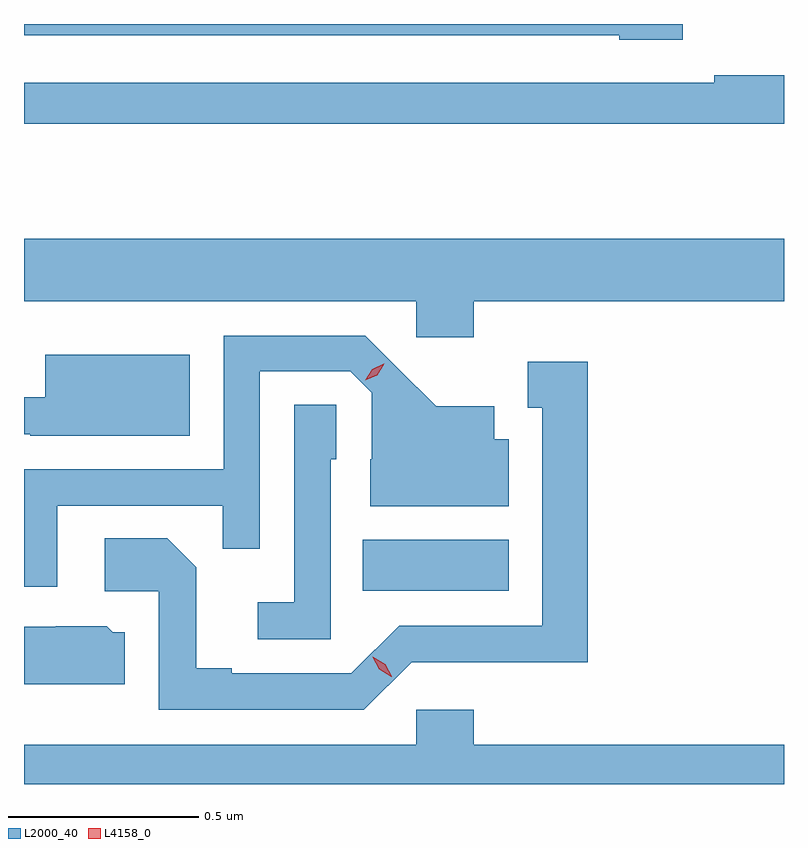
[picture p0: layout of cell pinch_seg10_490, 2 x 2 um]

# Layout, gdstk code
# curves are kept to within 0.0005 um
import gdstk
lib = gdstk.Library(unit=1e-6, precision=1e-09)
def R(c, l, rs):  # rectangles x0, y0, x1, y1
    for r in rs: c.add(gdstk.rectangle(r[:2], r[2:], *l))
def P(c, l, *ps):  # polygons
    for p in ps: c.add(gdstk.Polygon(p, *l))
L2000_40 = (2000, 40)
L4158_0 = (4158, 0)

pinch_seg10_490 = lib.new_cell('pinch_seg10_490')
R(pinch_seg10_490, L2000_40, [(336.058,1299.554,336.442,1299.688)])
P(pinch_seg10_490, L2000_40, [(336.899,1301.045),(335.166,1301.045),(335.166,1301.016),(336.732,1301.016),(336.732,1301.003),(336.899,1301.003)],
  [(337.166,1300.91),(336.982,1300.91),(336.982,1300.89),(335.166,1300.89),(335.166,1300.782),(337.166,1300.782)],
  [(336.35,1300.316),(337.166,1300.316),(337.166,1300.48),(335.166,1300.48),(335.166,1300.316),(336.198,1300.316),(336.198,1300.221),(336.35,1300.221)],
  [(335.253,1299.777),(335.689,1299.777),(335.689,1299.664),(335.787,1299.664),(335.787,1300.131),(336.024,1300.131),(336.081,1300.074),(336.081,1299.9),(336.077,1299.9),(336.077,1299.776),(336.442,1299.776),(336.442,1299.952),(336.403,1299.952),(336.403,1300.039),(336.251,1300.039),(336.064,1300.224),(335.691,1300.224),(335.691,1299.873),(335.166,1299.873),(335.166,1299.564),(335.253,1299.564)],
  [(335.602,1300.174),(335.222,1300.174),(335.222,1300.063),(335.166,1300.063),(335.166,1299.966),(335.182,1299.966),(335.182,1299.962),(335.602,1299.962)],
  [(336.186,1299.366),(336.408,1299.366),(336.408,1299.365),(336.649,1299.365),(336.649,1300.156),(336.491,1300.156),(336.491,1300.035),(336.53,1300.035),(336.53,1299.462),(336.153,1299.462),(336.027,1299.336),(335.713,1299.336),(335.713,1299.349),(335.619,1299.349),(335.619,1299.616),(335.543,1299.692),(335.379,1299.692),(335.379,1299.552),(335.52,1299.552),(335.52,1299.24),(336.06,1299.24)],
  [(335.973,1299.9),(335.988,1299.9),(335.988,1300.043),(335.877,1300.043),(335.877,1299.523),(335.781,1299.523),(335.781,1299.426),(335.973,1299.426)],
  [(335.431,1299.444),(335.4,1299.444),(335.384,1299.46),(335.25,1299.46),(335.25,1299.459),(335.166,1299.459),(335.166,1299.308),(335.431,1299.308)],
  [(337.166,1299.148),(336.35,1299.148),(336.35,1299.241),(336.198,1299.241),(336.198,1299.148),(335.166,1299.148),(335.166,1299.045),(337.166,1299.045)])
P(pinch_seg10_490, L4158_0, [(336.133,1299.327),(336.101,1299.347),(336.084,1299.379),(336.084,1299.38),(336.084,1299.38),(336.116,1299.36),(336.134,1299.328),(336.134,1299.327)],
  [(336.064,1300.107),(336.064,1300.107),(336.082,1300.136),(336.113,1300.151),(336.114,1300.151),(336.114,1300.151),(336.096,1300.121),(336.064,1300.107)])

lib.write_gds('pinch_seg10_490.gds')
